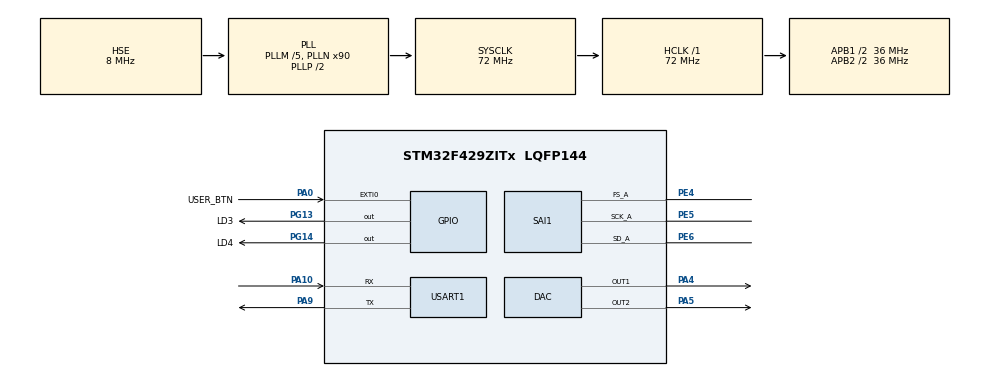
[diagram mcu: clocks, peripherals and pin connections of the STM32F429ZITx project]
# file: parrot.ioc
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DAC.DAC_Trigger=DAC_TRIGGER_T2_TRGO
DAC.DAC_Trigger2=DAC_TRIGGER_T2_TRGO
Dma.DAC1.0.Direction=DMA_MEMORY_TO_PERIPH
Dma.DAC1.0.FIFOMode=DMA_FIFOMODE_DISABLE
Dma.DAC1.0.Instance=DMA1_Stream5
Dma.DAC1.0.MemDataAlignment=DMA_MDATAALIGN_HALFWORD
Dma.DAC1.0.MemInc=DMA_MINC_ENABLE
Dma.DAC1.0.Mode=DMA_CIRCULAR
Dma.DAC1.0.PeriphDataAlignment=DMA_PDATAALIGN_HALFWORD
Dma.DAC1.0.PeriphInc=DMA_PINC_DISABLE
Dma.DAC1.0.Priority=DMA_PRIORITY_LOW
Dma.DAC2.1.Direction=DMA_MEMORY_TO_PERIPH
Dma.DAC2.1.FIFOMode=DMA_FIFOMODE_DISABLE
Dma.DAC2.1.Instance=DMA1_Stream6
Dma.DAC2.1.MemDataAlignment=DMA_MDATAALIGN_HALFWORD
Dma.DAC2.1.MemInc=DMA_MINC_ENABLE
Dma.DAC2.1.Mode=DMA_CIRCULAR
Dma.DAC2.1.PeriphDataAlignment=DMA_PDATAALIGN_HALFWORD
Dma.DAC2.1.PeriphInc=DMA_PINC_DISABLE
Dma.DAC2.1.Priority=DMA_PRIORITY_LOW
Dma.Request0=DAC1
Dma.Request1=DAC2
Dma.Request2=SAI1_A
Dma.SAI1_A.2.Direction=DMA_PERIPH_TO_MEMORY
Dma.SAI1_A.2.FIFOMode=DMA_FIFOMODE_DISABLE
Dma.SAI1_A.2.Instance=DMA2_Stream1
Dma.SAI1_A.2.MemDataAlignment=DMA_MDATAALIGN_HALFWORD
Dma.SAI1_A.2.MemInc=DMA_MINC_ENABLE
Dma.SAI1_A.2.Mode=DMA_CIRCULAR
Dma.SAI1_A.2.PeriphDataAlignment=DMA_PDATAALIGN_HALFWORD
Dma.SAI1_A.2.PeriphInc=DMA_PINC_DISABLE
Dma.SAI1_A.2.Priority=DMA_PRIORITY_LOW
Mcu.Family=STM32F4
Mcu.Name=STM32F429ZITx
Mcu.Package=LQFP144
NVIC.DMA1_Stream5_IRQn=true\:0\:0\:false\:false\:true\:false\:true
NVIC.DMA1_Stream6_IRQn=true\:0\:0\:false\:false\:true\:false\:true
NVIC.DMA2_Stream1_IRQn=true\:0\:0\:false\:false\:true\:false\:true
NVIC.PriorityGroup=NVIC_PRIORITYGROUP_0
NVIC.TIM6_DAC_IRQn=true\:0\:0\:false\:false\:true\:false\:true
NVIC.TimeBase=TIM6_DAC_IRQn
NVIC.TimeBaseIP=TIM6
PA0/WKUP.GPIO_Label=USER_BTN
PA0/WKUP.GPIO_ModeDefaultEXTI=GPIO_MODE_EVT_RISING
PA0/WKUP.Signal=GPXTI0
PA10.Mode=Asynchronous
PA10.Signal=USART1_RX
PA13.Mode=Serial_Wire
PA13.Signal=SYS_JTMS-SWDIO
PA14.Mode=Serial_Wire
PA14.Signal=SYS_JTCK-SWCLK
PA4.Signal=COMP_DAC1_group
PA5.Signal=COMP_DAC2_group
PA9.Mode=Asynchronous
PA9.Signal=USART1_TX
PE4.Mode=SAI_A_Master
PE4.Signal=SAI1_FS_A
PE5.Mode=SAI_A_Master
PE5.Signal=SAI1_SCK_A
PE6.Mode=SAI_A_Master
PE6.Signal=SAI1_SD_A
PG13.GPIO_Label=LD3
PG13.Signal=GPIO_Output
PG14.GPIO_Label=LD4
PG14.Signal=GPIO_Output
PH0/OSC_IN.Mode=HSE-External-Oscillator
PH0/OSC_IN.Signal=RCC_OSC_IN
PH1/OSC_OUT.Mode=HSE-External-Oscillator
PH1/OSC_OUT.Signal=RCC_OSC_OUT
ProjectManager.HeapSize=0x200
ProjectManager.StackSize=0x400
ProjectManager.TargetToolchain=STM32CubeIDE
RCC.48MHZClocksFreq_Value=20571428.57142857
RCC.AHBFreq_Value=72000000
RCC.APB1CLKDivider=RCC_HCLK_DIV2
RCC.APB1Freq_Value=36000000
RCC.APB1TimFreq_Value=72000000
RCC.APB2CLKDivider=RCC_HCLK_DIV2
RCC.APB2Freq_Value=36000000
RCC.APB2TimFreq_Value=72000000
RCC.CortexFreq_Value=72000000
RCC.HCLKFreq_Value=72000000
RCC.HSE_VALUE=8000000
RCC.HSI_VALUE=16000000
RCC.LSE_VALUE=32768
RCC.PLLM=5
RCC.PLLN=90
RCC.PLLQ=7
RCC.PLLSAIN=256
RCC.PLLSAIQ=5
RCC.PLLSourceVirtual=RCC_PLLSOURCE_HSE
RCC.SYSCLKFreq_VALUE=72000000
RCC.SYSCLKSource=RCC_SYSCLKSOURCE_PLLCLK
RCC.VCOOutputFreq_Value=144000000
SAI1.ActiveFrameLength-SAI_A_Master=32
SAI1.AudioFrequency-SAI_A_Master=SAI_AUDIO_FREQUENCY_32K
SAI1.AudioMode-SAI_A_Master=SAI_MODEMASTER_RX
SAI1.ClockStrobing-SAI_A_Master=SAI_CLOCKSTROBING_RISINGEDGE
SAI1.DataSize-SAI_A_Master=SAI_DATASIZE_16
SAI1.ErrorAudioFreq-SAI_A_Master=0.0 %
SAI1.FSDefinition-SAI_A_Master=SAI_FS_CHANNEL_IDENTIFICATION
SAI1.FrameLength-SAI_A_Master=64
SAI1.Instance-SAI_A_Master=SAI$Index_Block_A
SAI1.MClockEnable-SAI_A_Master=SAI_MASTERCLOCK_DISABLE
SAI1.RealAudioFreq-SAI_A_Master=32.0 KHz
SAI1.SlotActive-SAI_A_Master=0x0000FFFF
SAI1.SlotNumber-SAI_A_Master=4
SAI1.Synchro_A=SAI_ASYNCHRONOUS
SAI1.VirtualMode-SAI_A_Master=VM_MASTER
SAI1.VirtualSlotActive-SAI_A_Master=SAI_SLOTACTIVE_ALL
SH.COMP_DAC1_group.0=DAC_OUT1,DAC_OUT1
SH.COMP_DAC2_group.0=DAC_OUT2,DAC_OUT2
TIM2.Period=2249
TIM2.TIM_MasterOutputTrigger=TIM_TRGO_UPDATE
USART1.VirtualMode=VM_ASYNC
VP_SYS_VS_tim6.Mode=TIM6
VP_TIM2_VS_ClockSourceINT.Mode=Internal
board=STM32F429I-DISC1

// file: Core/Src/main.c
/* USER CODE BEGIN Header */
/**
  ******************************************************************************
  * @file           : main.c
  * @brief          : Main program body
  ******************************************************************************
  * @attention
  *
  * <h2><center>&copy; Copyright (c) 2021 STMicroelectronics.
  * All rights reserved.</center></h2>
  *
  * This software component is licensed by ST under BSD 3-Clause license,
  * the "License"; You may not use this file except in compliance with the
  * License. You may obtain a copy of the License at:
  *                        opensource.org/licenses/BSD-3-Clause
  *
  ******************************************************************************
  */
/* USER CODE END Header */
#include "main.h"

/* USER CODE BEGIN Includes */
#include "pdm_fir.h"
#include <stdlib.h>
#include <string.h>
/* USER CODE END Includes */

/* USER CODE BEGIN PTD */
typedef enum {
    IDLE, RECORDING, PLAYING, TRANSMITTING
} program_state_t;
/* USER CODE END PTD */

/* USER CODE BEGIN PD */
#pragma clang diagnostic push
#pragma ide diagnostic ignored "EndlessLoop"

#define SOUND_FS 32000
#define DECIMATION_FACTOR 64
#define WORD_SIZE 16

// 1ms of PDM data @SOUND_FS*DECIMATION_FACTOR in WORD of WORD_SIZE
#define PDM_BUFFER_SIZE ((SOUND_FS / 1000) * DECIMATION_FACTOR / WORD_SIZE)
// 1ms of PCM_DATA in word of WORD_SIZE
#define PCM_BUFFER_SIZE (SOUND_FS / 1000)

// length in second of the played back sound
#define RECORD_TIME_MS 2985

#define LINEAR_GAIN 9

#define SAMPLE_COUNT (RECORD_TIME_MS * (SOUND_FS/1000))

#define TRANSMIT

/* USER CODE END PD */

DAC_HandleTypeDef hdac;
DMA_HandleTypeDef hdma_dac1;
DMA_HandleTypeDef hdma_dac2;

SAI_HandleTypeDef hsai_BlockA1;
DMA_HandleTypeDef hdma_sai1_a;

TIM_HandleTypeDef htim2;

UART_HandleTypeDef huart1;

/* USER CODE BEGIN PV */
uint16_t PDM_BUFFER[PDM_BUFFER_SIZE * 2];
uint16_t PCM_BUFFER[PCM_BUFFER_SIZE];
uint16_t PCM_SOUND[SAMPLE_COUNT];

uint16_t DAC_BUFFER_LEFT[PCM_BUFFER_SIZE * 2];
uint16_t DAC_BUFFER_RIGHT[PCM_BUFFER_SIZE * 2];

uint8_t sai_flag = 1, sai_half = 0;
uint8_t dac_flag = 1, dac_half = 0;

#ifdef TRANSMIT
uint32_t WAVE_HEADER[] = {
        // Declaration fichier
        ('F' << 24) + ('F' << 16) + ('I' << 8) + ('R' << 0), // 'RIFF'
        36, // file size + 44 (header) - 8
        ('E' << 24) + ('V' << 16) + ('A' << 8) + ('W' << 0), // WAVE
        (' ' << 24) + ('t' << 16) + ('m' << 8) + ('f' << 0), // 'fmt '
        0x10,
        (1 << 16) + (1 << 0), // PCM Entier + 1 canal
        SOUND_FS, // fs 32kHz
        SOUND_FS * 2, // 32kHz * 2 octet par bloc ech
        (16 << 16) + (2 << 0), // 2 octet par block d'ech et 16 bit par ech
        ('a' << 24) + ('t' << 16) + ('a' << 8) + ('d' << 0), //'data'
        0
};

#endif // TRANSMIT

/* USER CODE END PV */

void SystemClock_Config(void);

static void MX_GPIO_Init(void);

static void MX_DMA_Init(void);

static void MX_DAC_Init(void);

static void MX_SAI1_Init(void);

static void MX_TIM2_Init(void);

static void MX_USART1_UART_Init(void);

/* USER CODE BEGIN 0 */
void HAL_SAI_RxHalfCpltCallback(SAI_HandleTypeDef *hsai) {
    sai_flag = 0;
    sai_half = 0;
}

void HAL_SAI_RxCpltCallback(SAI_HandleTypeDef *hsai) {
    sai_flag = 0;
    sai_half = 1;
}

// Configuring DAC Interruption Callbacks
void HAL_DAC_ConvHalfCpltCallbackCh1(DAC_HandleTypeDef *hdac1) {
    dac_flag = 0;
    dac_half = 0;
}

void HAL_DAC_ConvCpltCallbackCh1(DAC_HandleTypeDef *hdac1) {
    dac_flag = 0;
    dac_half = 1;
}

/* USER CODE END 0 */

int main(void) {
    /* USER CODE BEGIN 1 */
    // Initializing Buffers
    for (size_t i = 0; i < PDM_BUFFER_SIZE * 2; i++) PDM_BUFFER[i] = 0;
    // Initializing PCM BUFFER At DAC Middle Point
    for (size_t i = 0; i < PCM_BUFFER_SIZE * 2; i++) {
        if (i < PCM_BUFFER_SIZE) PCM_BUFFER[i] = 0x7FF;
        DAC_BUFFER_LEFT[i] = 0x7FF;
        DAC_BUFFER_RIGHT[i] = 0x7FF;
    }
    for (size_t i = 0; i < SAMPLE_COUNT; i++) PCM_SOUND[i] = 0x7FF;

    //Initializing Program
    program_state_t program_state = IDLE;
    uint32_t recording_index = 0, playback_index = 0;
    uint32_t playback_start, samples_recorded = 0, cool_down = 0, idle_counter = 0;
#ifdef TRANSMIT
    uint32_t send_index;
#endif // TRANSMIT
    pdm_fir_filter_config_t fir_filter;
    /* USER CODE END 1 */

    /* MCU Configuration--------------------------------------------------------*/

    /* Reset of all peripherals, Initializes the Flash interface and the Systick. */
    HAL_Init();

    /* Configure the system clock */
    SystemClock_Config();

    /* Initialize all configured peripherals */
    MX_GPIO_Init();
    MX_DMA_Init();
    MX_DAC_Init();
    MX_SAI1_Init();
    MX_TIM2_Init();
    MX_USART1_UART_Init();
    /* USER CODE BEGIN 2 */
    // Starting Peripherals
    pdm_fir_flt_config_init(&fir_filter, DECIMATION_FACTOR, -50, 0X7FF, LINEAR_GAIN, 12);

    HAL_SAI_Receive_DMA(&hsai_BlockA1, (uint8_t *) PDM_BUFFER, PDM_BUFFER_SIZE * 2);
    HAL_DAC_Start_DMA(&hdac, DAC_CHANNEL_1, (uint32_t *) DAC_BUFFER_LEFT, PCM_BUFFER_SIZE * 2, DAC_ALIGN_12B_R);
    HAL_DAC_Start_DMA(&hdac, DAC_CHANNEL_2, (uint32_t *) DAC_BUFFER_RIGHT, PCM_BUFFER_SIZE * 2, DAC_ALIGN_12B_R);
    HAL_TIM_Base_Start(&htim2);
    /* USER CODE END 2 */

    /* Infinite loop */
    while (1) {

        /* USER CODE BEGIN 3 */
        switch (program_state) {
            case IDLE:
                if (HAL_GPIO_ReadPin(GPIOA, USER_BTN_Pin) == GPIO_PIN_SET && cool_down == 0) {
                    program_state = RECORDING;
                    HAL_GPIO_WritePin(GPIOG, LD3_Pin, GPIO_PIN_SET);
                    HAL_GPIO_WritePin(GPIOG, LD4_Pin, GPIO_PIN_RESET);
                    cool_down = 500;
                    samples_recorded = 0;
                }
                if (!sai_flag) { // filtering BUT ignoring output -> Keeping filter up to date
                    (void) pdm_fir_flt_chunk(&fir_filter, PCM_BUFFER, PDM_BUFFER + PDM_BUFFER_SIZE * sai_half,
                                             PDM_BUFFER_SIZE);
                    sai_flag = 1;
                }
                if (!dac_flag) dac_flag = 1; // resetting DAC flag
                idle_counter = (idle_counter + 1) % 1000000;
                if (cool_down > 0) {
                    cool_down--;
                    HAL_Delay(1);
                } else {
                    HAL_GPIO_WritePin(GPIOG, LD4_Pin, GPIO_PIN_SET);
                }
                break;
            case RECORDING:
                if (!sai_flag) {
                    uint32_t filtered_words = pdm_fir_flt_chunk(&fir_filter,
                                                               PCM_BUFFER,
                                                               PDM_BUFFER + PDM_BUFFER_SIZE * sai_half,
                                                               PDM_BUFFER_SIZE);
                    sai_flag = 1;
                    if (samples_recorded < SAMPLE_COUNT) samples_recorded += filtered_words;

                    //Saving Filtered Samples into SOUND
                    memcpy(PCM_SOUND + recording_index, PCM_BUFFER, sizeof(uint16_t) * filtered_words);

                    recording_index = (recording_index + filtered_words) % SAMPLE_COUNT;

                    if (cool_down > 0) cool_down--;
                }
                if (HAL_GPIO_ReadPin(GPIOA, USER_BTN_Pin) == GPIO_PIN_SET && cool_down == 0) {
                    program_state = PLAYING;
                    HAL_GPIO_WritePin(GPIOG, LD3_Pin, GPIO_PIN_SET);
                    HAL_GPIO_WritePin(GPIOG, LD4_Pin, GPIO_PIN_SET);
                    if (samples_recorded > SAMPLE_COUNT) samples_recorded = SAMPLE_COUNT;
                    int64_t th_start = ((int64_t) recording_index - (int64_t) samples_recorded);
                    if (th_start < 0)
                        playback_start = SAMPLE_COUNT + th_start;
                    else
                        playback_start = th_start;
                }
                break;
            case PLAYING:
                if (!dac_flag) {
                    if (playback_index < recording_index) {
                        uint32_t real_idx = (playback_start + playback_index) % SAMPLE_COUNT;

                        // Copying Data to LEFT Buffer
                        memcpy(DAC_BUFFER_LEFT + dac_half * PCM_BUFFER_SIZE, PCM_SOUND + real_idx,
                               sizeof(uint16_t) * PCM_BUFFER_SIZE);

                        // Copying Data to RIGHT Buffer
                        memcpy(DAC_BUFFER_RIGHT + dac_half * PCM_BUFFER_SIZE, PCM_SOUND + real_idx,
                               sizeof(uint16_t) * PCM_BUFFER_SIZE);

                        playback_index += PCM_BUFFER_SIZE;
                    } else {
                        playback_index = 0;
                        HAL_GPIO_WritePin(GPIOG, LD4_Pin, GPIO_PIN_RESET);
                        HAL_GPIO_WritePin(GPIOG, LD3_Pin, GPIO_PIN_RESET);
                        for (size_t i = 0; i < PCM_BUFFER_SIZE * 2; i++) {
                            DAC_BUFFER_LEFT[i] = 0x7FF;
                            DAC_BUFFER_RIGHT[i] = 0x7FF;
                        }
#ifdef TRANSMIT
                        program_state = TRANSMITTING;
#else
                        program_state = IDLE;
#endif // TRANSMIT
                        cool_down = 250;
                        recording_index = 0;
                    }
                    dac_flag = 1;
                }
                break;
            case TRANSMITTING:
                //Optimizing sound for 16 bit WAV Samples
                for (size_t i = 0; i < SAMPLE_COUNT; i++)
                    PCM_SOUND[i] = (int16_t) (PCM_SOUND[i] - 0x7FF) * (0x7FFF / 0x7FF);
                WAVE_HEADER[1] = 36 + samples_recorded * sizeof(uint16_t);
                WAVE_HEADER[10] = samples_recorded * sizeof(uint16_t);
                HAL_UART_Transmit(&huart1, (uint8_t *) WAVE_HEADER, 44, HAL_MAX_DELAY);
                for (size_t i = 0; i < samples_recorded; i += PCM_BUFFER_SIZE) {
                    send_index = (playback_start + i) % SAMPLE_COUNT;
                    HAL_UART_Transmit(&huart1, (uint8_t *) (PCM_SOUND + send_index), PCM_BUFFER_SIZE * sizeof(uint16_t),
                                      HAL_MAX_DELAY);
                }
                program_state = IDLE;
                break;
            default:
                break;
        }
    }
    /* USER CODE END 3 */
}

void SystemClock_Config(void) {
    RCC_OscInitTypeDef RCC_OscInitStruct = {0};
    RCC_ClkInitTypeDef RCC_ClkInitStruct = {0};

    /** Macro to configure SAI1BlockA clock source selection
    */
    __HAL_RCC_SAI_BLOCKACLKSOURCE_CONFIG(SAI_CLKSOURCE_PLLSAI);
    /** Configure the main internal regulator output voltage
    */
    __HAL_RCC_PWR_CLK_ENABLE();
    __HAL_PWR_VOLTAGESCALING_CONFIG(PWR_REGULATOR_VOLTAGE_SCALE3);
    /** Initializes the RCC Oscillators according to the specified parameters
    * in the RCC_OscInitTypeDef structure.
    */
    RCC_OscInitStruct.OscillatorType = RCC_OSCILLATORTYPE_HSE;
    RCC_OscInitStruct.HSEState = RCC_HSE_ON;
    RCC_OscInitStruct.PLL.PLLState = RCC_PLL_ON;
    RCC_OscInitStruct.PLL.PLLSource = RCC_PLLSOURCE_HSE;
    RCC_OscInitStruct.PLL.PLLM = 5;
    RCC_OscInitStruct.PLL.PLLN = 90;
    RCC_OscInitStruct.PLL.PLLP = RCC_PLLP_DIV2;
    RCC_OscInitStruct.PLL.PLLQ = 7;
    if (HAL_RCC_OscConfig(&RCC_OscInitStruct) != HAL_OK) {
        Error_Handler();
    }
    /** Initializes the CPU, AHB and APB buses clocks
    */
    RCC_ClkInitStruct.ClockType = RCC_CLOCKTYPE_HCLK | RCC_CLOCKTYPE_SYSCLK
                                  | RCC_CLOCKTYPE_PCLK1 | RCC_CLOCKTYPE_PCLK2;
    RCC_ClkInitStruct.SYSCLKSource = RCC_SYSCLKSOURCE_PLLCLK;
    RCC_ClkInitStruct.AHBCLKDivider = RCC_SYSCLK_DIV1;
    RCC_ClkInitStruct.APB1CLKDivider = RCC_HCLK_DIV2;
    RCC_ClkInitStruct.APB2CLKDivider = RCC_HCLK_DIV2;

    if (HAL_RCC_ClockConfig(&RCC_ClkInitStruct, FLASH_LATENCY_2) != HAL_OK) {
        Error_Handler();
    }
}

static void MX_DAC_Init(void) {

    DAC_ChannelConfTypeDef sConfig = {0};

    /** DAC Initialization
    */
    hdac.Instance = DAC;
    if (HAL_DAC_Init(&hdac) != HAL_OK) {
        Error_Handler();
    }
    /** DAC channel OUT1 config
    */
    sConfig.DAC_Trigger = DAC_TRIGGER_T2_TRGO;
    sConfig.DAC_OutputBuffer = DAC_OUTPUTBUFFER_ENABLE;
    if (HAL_DAC_ConfigChannel(&hdac, &sConfig, DAC_CHANNEL_1) != HAL_OK) {
        Error_Handler();
    }
    /** DAC channel OUT2 config
    */
    if (HAL_DAC_ConfigChannel(&hdac, &sConfig, DAC_CHANNEL_2) != HAL_OK) {
        Error_Handler();
    }

}

static void MX_SAI1_Init(void) {

    hsai_BlockA1.Instance = SAI1_Block_A;
    hsai_BlockA1.Init.Protocol = SAI_FREE_PROTOCOL;
    hsai_BlockA1.Init.AudioMode = SAI_MODEMASTER_RX;
    hsai_BlockA1.Init.DataSize = SAI_DATASIZE_16;
    hsai_BlockA1.Init.FirstBit = SAI_FIRSTBIT_MSB;
    hsai_BlockA1.Init.ClockStrobing = SAI_CLOCKSTROBING_RISINGEDGE;
    hsai_BlockA1.Init.Synchro = SAI_ASYNCHRONOUS;
    hsai_BlockA1.Init.OutputDrive = SAI_OUTPUTDRIVE_DISABLE;
    hsai_BlockA1.Init.NoDivider = SAI_MASTERDIVIDER_ENABLE;
    hsai_BlockA1.Init.FIFOThreshold = SAI_FIFOTHRESHOLD_EMPTY;
    hsai_BlockA1.Init.ClockSource = SAI_CLKSOURCE_PLLSAI;
    hsai_BlockA1.Init.AudioFrequency = SAI_AUDIO_FREQUENCY_32K;
    hsai_BlockA1.FrameInit.FrameLength = 64;
    hsai_BlockA1.FrameInit.ActiveFrameLength = 32;
    hsai_BlockA1.FrameInit.FSDefinition = SAI_FS_CHANNEL_IDENTIFICATION;
    hsai_BlockA1.FrameInit.FSPolarity = SAI_FS_ACTIVE_LOW;
    hsai_BlockA1.FrameInit.FSOffset = SAI_FS_FIRSTBIT;
    hsai_BlockA1.SlotInit.FirstBitOffset = 0;
    hsai_BlockA1.SlotInit.SlotSize = SAI_SLOTSIZE_DATASIZE;
    hsai_BlockA1.SlotInit.SlotNumber = 4;
    hsai_BlockA1.SlotInit.SlotActive = 0x0000FFFF;
    if (HAL_SAI_Init(&hsai_BlockA1) != HAL_OK) {
        Error_Handler();
    }

}

static void MX_TIM2_Init(void) {

    TIM_ClockConfigTypeDef sClockSourceConfig = {0};
    TIM_MasterConfigTypeDef sMasterConfig = {0};

    htim2.Instance = TIM2;
    htim2.Init.Prescaler = 0;
    htim2.Init.CounterMode = TIM_COUNTERMODE_UP;
    htim2.Init.Period = 2249;
    htim2.Init.ClockDivision = TIM_CLOCKDIVISION_DIV1;
    htim2.Init.AutoReloadPreload = TIM_AUTORELOAD_PRELOAD_DISABLE;
    if (HAL_TIM_Base_Init(&htim2) != HAL_OK) {
        Error_Handler();
    }
    sClockSourceConfig.ClockSource = TIM_CLOCKSOURCE_INTERNAL;
    if (HAL_TIM_ConfigClockSource(&htim2, &sClockSourceConfig) != HAL_OK) {
        Error_Handler();
    }
    sMasterConfig.MasterOutputTrigger = TIM_TRGO_UPDATE;
    sMasterConfig.MasterSlaveMode = TIM_MASTERSLAVEMODE_DISABLE;
    if (HAL_TIMEx_MasterConfigSynchronization(&htim2, &sMasterConfig) != HAL_OK) {
        Error_Handler();
    }

}

static void MX_USART1_UART_Init(void) {

    huart1.Instance = USART1;
    huart1.Init.BaudRate = 115200;
    huart1.Init.WordLength = UART_WORDLENGTH_8B;
    huart1.Init.StopBits = UART_STOPBITS_1;
    huart1.Init.Parity = UART_PARITY_NONE;
    huart1.Init.Mode = UART_MODE_TX_RX;
    huart1.Init.HwFlowCtl = UART_HWCONTROL_NONE;
    huart1.Init.OverSampling = UART_OVERSAMPLING_16;
    if (HAL_UART_Init(&huart1) != HAL_OK) {
        Error_Handler();
    }

}

static void MX_DMA_Init(void) {

    /* DMA controller clock enable */
    __HAL_RCC_DMA1_CLK_ENABLE();
    __HAL_RCC_DMA2_CLK_ENABLE();

    /* DMA interrupt init */
    /* DMA1_Stream5_IRQn interrupt configuration */
    HAL_NVIC_SetPriority(DMA1_Stream5_IRQn, 0, 0);
    HAL_NVIC_EnableIRQ(DMA1_Stream5_IRQn);
    /* DMA1_Stream6_IRQn interrupt configuration */
    HAL_NVIC_SetPriority(DMA1_Stream6_IRQn, 0, 0);
    HAL_NVIC_EnableIRQ(DMA1_Stream6_IRQn);
    /* DMA2_Stream1_IRQn interrupt configuration */
    HAL_NVIC_SetPriority(DMA2_Stream1_IRQn, 0, 0);
    HAL_NVIC_EnableIRQ(DMA2_Stream1_IRQn);

}

static void MX_GPIO_Init(void) {
    GPIO_InitTypeDef GPIO_InitStruct = {0};

    /* GPIO Ports Clock Enable */
    __HAL_RCC_GPIOE_CLK_ENABLE();
    __HAL_RCC_GPIOH_CLK_ENABLE();
    __HAL_RCC_GPIOA_CLK_ENABLE();
    __HAL_RCC_GPIOG_CLK_ENABLE();

    /*Configure GPIO pin Output Level */
    HAL_GPIO_WritePin(GPIOG, LD3_Pin | LD4_Pin, GPIO_PIN_RESET);

    /*Configure GPIO pin : USER_BTN_Pin */
    GPIO_InitStruct.Pin = USER_BTN_Pin;
    GPIO_InitStruct.Mode = GPIO_MODE_EVT_RISING;
    GPIO_InitStruct.Pull = GPIO_NOPULL;
    HAL_GPIO_Init(USER_BTN_GPIO_Port, &GPIO_InitStruct);

    /*Configure GPIO pins : LD3_Pin LD4_Pin */
    GPIO_InitStruct.Pin = LD3_Pin | LD4_Pin;
    GPIO_InitStruct.Mode = GPIO_MODE_OUTPUT_PP;
    GPIO_InitStruct.Pull = GPIO_NOPULL;
    GPIO_InitStruct.Speed = GPIO_SPEED_FREQ_LOW;
    HAL_GPIO_Init(GPIOG, &GPIO_InitStruct);

}

void HAL_TIM_PeriodElapsedCallback(TIM_HandleTypeDef *htim) {
    if (htim->Instance == TIM6) {
        HAL_IncTick();
    }
}

void Error_Handler(void) {
    __disable_irq();
    while (1) {
    }
}

/************************ (C) COPYRIGHT STMicroelectronics *****END OF FILE****/
